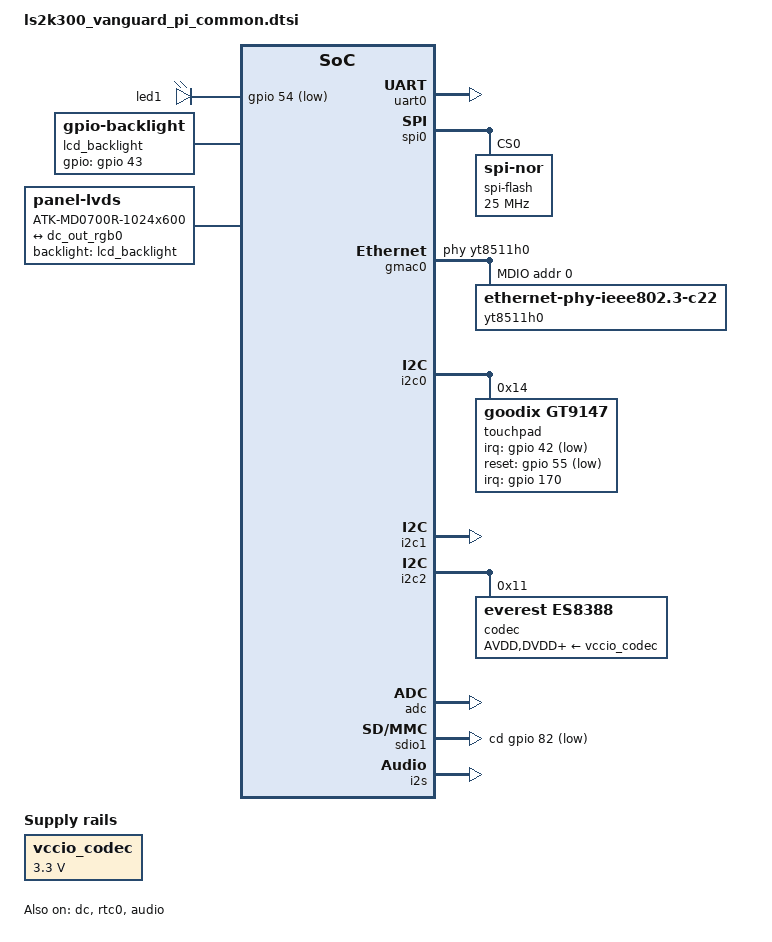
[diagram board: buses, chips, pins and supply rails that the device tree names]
// SPDX-License-Identifier: GPL-2.0
/*
 * Copyright (C) 2025 Loongson Technology Corporation Limited
 */

/dts-v1/;

#include "loongson-2k0300.dtsi"
#include "loongson_panel_param.dtsi"

/ {
	chosen {
		stdout-path = "serial0:115200n8";
		bootargs = "earlycon";
	};

	/* not need memory node, we get memory info from boot params. */

	leds {
		compatible = "gpio-leds";

		led1 {
			label = "led1";
			gpios = <&gpio 54 GPIO_ACTIVE_LOW>;
			linux,default-trigger = "heartbeat";
			default-state = "on";
		};
	};

	lcd_backlight: backlight {
		compatible = "gpio-backlight";
		gpios = <&gpio 43 GPIO_ACTIVE_HIGH>;
		default-on;
	};

	panel: dvo-connector@0 {
		#address-cells = <1>;
		#size-cells = <0>;
		compatible = "panel-lvds", "auo,b101ean01";
		backlight = <&lcd_backlight>;

		/* lcd power on control gpio */
		// enable-gpios = <&pioA 3 GPIO_ACTIVE_HIGH>;
		// power-supply = <&vdd_lcd>;
#if 0	// 4.3' LCD
		width-mm = <223>;
		height-mm = <125>;
		label = "ATK-MD0430R-800x480";
		data-mapping = "jeida-24";

		panel-timing {
			clock-frequency = <27000000>;
			hactive = <800>;
			vactive = <480>;
			hsync-len = <40>;
			hfront-porch = <48>;
			hback-porch = <40>;
			vfront-porch = <13>;
			vback-porch = <32>;
			vsync-len = <1>;
			de-active = <1>;
			hsync-active = <0>;
			vsync-active = <0>;
			pixelclk-active = <0>;
		};
#else	// 7' LCD
		width-mm = <223>;
		height-mm = <125>;
		label = "ATK-MD0700R-1024x600";
		data-mapping = "jeida-24";

		panel-timing {
			clock-frequency = <51200000>;
			hactive = <1024>;
			vactive = <600>;
			hsync-len = <20>;
			hfront-porch = <160>;
			hback-porch = <140>;
			vfront-porch = <12>;
			vback-porch = <20>;
			vsync-len = <3>;
			de-active = <1>;
			hsync-active = <0>;
			vsync-active = <0>;
			pixelclk-active = <0>;
		};
#endif
		port@0 {
			reg = <0>;

			#address-cells = <1>;
			#size-cells = <0>;

			dvo_connector_in: endpoint@0 {
				reg = <0>;
				remote-endpoint = <&dc_out_rgb0>;
			};
		};
	};

	vccio_codec: 3_3V{
		compatible = "regulator-fixed";
		regulator-name = "VCC_IO";
		regulator-min-microvolt = <3300000>;
		regulator-max-microvolt = <3300000>;
		regulator-always-on;
	};

	// 虽然这个时钟在从模式下没用，但 es8388 驱动必须指定这个时钟
	es8388_clk: es8388-clock {
		compatible = "fixed-clock";
		clock-frequency = <12288000>;
		#clock-cells = <1>;
	};
};

&uart0 {
	status = "okay";
};

&spi0 {
	status = "okay";

	spi-flash@0 {
		compatible = "jedec,spi-nor";
		spi-max-frequency = <25000000>;
		reg = <0>;
	};
};

&gmac0 {
	status = "okay";
	phy-handle = <&yt8511h0>;
	mdio {
		compatible = "snps,dwmac-mdio";
		#address-cells = <1>;
		#size-cells = <0>;

		yt8511h0: ethernet-phy@0 {
			compatible = "ethernet-phy-ieee802.3-c22";
			reg = <0>;
			rx-internal-delay-ps = <450>;
			tx-internal-delay-ps = <150>;
			motorcomm,led0_cfg = <0x40>; //千兆常亮
			motorcomm,led1_cfg = <0x30>; //百兆 十兆常亮
			motorcomm,led2_cfg = <0x2600>; //有数据时闪烁
		};
	};
};

&dc {
	status = "ok";

	ports {
		#address-cells = <1>;
		#size-cells = <0>;

		port@0 {
			reg = <0>;
			dc_out_rgb0: endpoint {
				remote-endpoint = <&dvo_connector_in>;
			};
		};
	};
};

&i2c0 {
	status = "ok";

	touchpad: gt9147@14 {
		compatible = "goodix,gt9147";
		reg = <0x14>;
		// 2K300 GPIO 支持中断控制
		// GPIO 中断号为 vhwirq-base + pinnum (170 = 128 + 42)
		interrupt-parent = <&gpio>;
		interrupts = <170 IRQ_TYPE_EDGE_FALLING>;
		irq-gpios = <&gpio 42 GPIO_ACTIVE_LOW>;
		reset-gpios = <&gpio 55 GPIO_ACTIVE_LOW>;
	};
};

&i2c1 {
	status = "ok";
};

&i2c2 {
	status = "okay";

	codec: es8388@11{
		compatible = "everest,es8388";
		reg = <0x11>;
		AVDD-supply = <&vccio_codec>;
		DVDD-supply = <&vccio_codec>;
		HPVDD-supply = <&vccio_codec>;
		PVDD-supply = <&vccio_codec>;
		clocks = <&es8388_clk 0>;
	};
};


&can0 {
	status = "disabled";
};

&can1 {
	status = "disabled";
};

&can2 {
	status = "disabled";
};

&can3 {
	status = "disabled";
};

&adc {
	status = "okay";
};

&rtc0 {
	status = "okay";
};

&sdio1 {
	cd-gpios = <&gpio 82 GPIO_ACTIVE_LOW>;
	status = "okay";
};

&i2s {
	status = "okay";
	//slave-mode;
	//mclk-fixed = <12288000>;
};

&audio {
	status = "okay";
};

&sound {
	status = "okay";
	loongson,audio-codec = <&codec>;
	// Easy Compatible for asound.state Configure
	loongson,sound-card-name = "ES8388";
};

